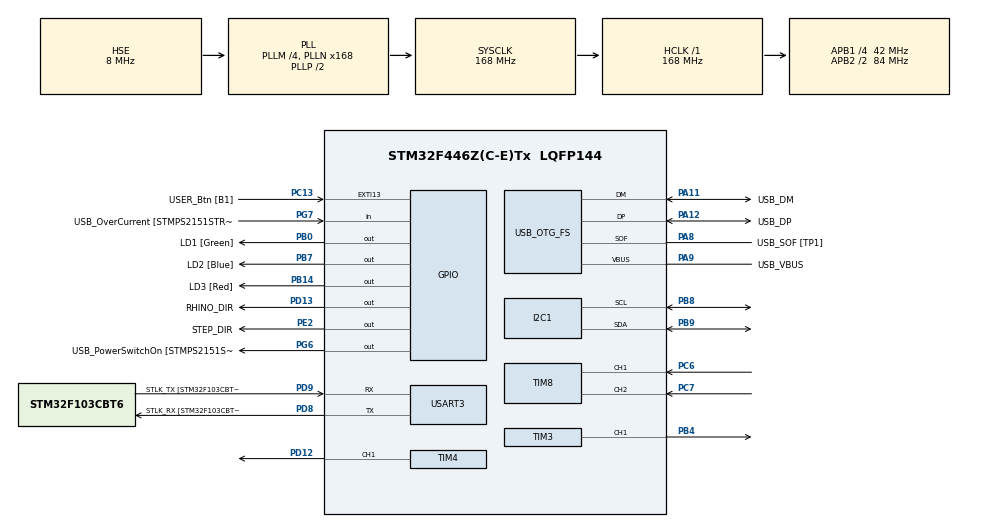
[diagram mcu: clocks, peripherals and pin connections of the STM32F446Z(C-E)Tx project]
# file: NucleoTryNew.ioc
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Mcu.Family=STM32F4
Mcu.Name=STM32F446Z(C-E)Tx
Mcu.Package=LQFP144
NVIC.PriorityGroup=NVIC_PRIORITYGROUP_4
NVIC.USART3_IRQn=true\:0\:0\:false\:false\:true\:true\:true\:true
PA10.GPIO_Label=USB_ID
PA10.Signal=USB_OTG_FS_ID
PA11.GPIO_Label=USB_DM
PA11.Mode=Device_Only
PA11.Signal=USB_OTG_FS_DM
PA12.GPIO_Label=USB_DP
PA12.Mode=Device_Only
PA12.Signal=USB_OTG_FS_DP
PA13.GPIO_Label=TMS
PA13.Mode=Serial_Wire
PA13.Signal=SYS_JTMS-SWDIO
PA14.GPIO_Label=TCK
PA14.Mode=Serial_Wire
PA14.Signal=SYS_JTCK-SWCLK
PA8.GPIO_Label=USB_SOF [TP1]
PA8.Mode=Activate_SOF_FS
PA8.Signal=USB_OTG_FS_SOF
PA9.GPIO_Label=USB_VBUS
PA9.Mode=Activate_VBUS
PA9.Signal=USB_OTG_FS_VBUS
PB0.GPIO_Label=LD1 [Green]
PB0.Signal=GPIO_Output
PB14.GPIO_Label=LD3 [Red]
PB14.Signal=GPIO_Output
PB4.Signal=S_TIM3_CH1
PB7.GPIO_Label=LD2 [Blue]
PB7.Signal=GPIO_Output
PB8.Mode=I2C
PB8.Signal=I2C1_SCL
PB9.Mode=I2C
PB9.Signal=I2C1_SDA
PC13.GPIO_Label=USER_Btn [B1]
PC13.Signal=GPXTI13
PC14-OSC32_IN.Mode=LSE-External-Oscillator
PC14-OSC32_IN.Signal=RCC_OSC32_IN
PC15-OSC32_OUT.Mode=LSE-External-Oscillator
PC15-OSC32_OUT.Signal=RCC_OSC32_OUT
PC6.GPIO_PuPd=GPIO_PULLUP
PC6.Signal=S_TIM8_CH1
PC7.GPIO_PuPd=GPIO_PULLUP
PC7.Signal=S_TIM8_CH2
PD12.Signal=S_TIM4_CH1
PD13.GPIO_Label=RHINO_DIR
PD13.Signal=GPIO_Output
PD8.GPIO_Label=STLK_RX [STM32F103CBT6_PA3]
PD8.Mode=Asynchronous
PD8.Signal=USART3_TX
PD9.GPIO_Label=STLK_TX [STM32F103CBT6_PA2]
PD9.Mode=Asynchronous
PD9.Signal=USART3_RX
PE2.GPIO_Label=STEP_DIR
PE2.Signal=GPIO_Output
PG6.GPIO_Label=USB_PowerSwitchOn [STMPS2151STR_EN]
PG6.Signal=GPIO_Output
PG7.GPIO_Label=USB_OverCurrent [STMPS2151STR_FAULT]
PG7.Signal=GPIO_Input
PH0-OSC_IN.GPIO_Label=MCO [STM32F103CBT6_PA8]
PH0-OSC_IN.Mode=HSE-External-Clock-Source
PH0-OSC_IN.Signal=RCC_OSC_IN
PH1-OSC_OUT.Mode=HSE-External-Clock-Source
PH1-OSC_OUT.Signal=RCC_OSC_OUT
ProjectManager.HeapSize=0x200
ProjectManager.StackSize=0x400
ProjectManager.TargetToolchain=STM32CubeIDE
RCC.48MHZClocksFreq_Value=24000000
RCC.AHBFreq_Value=168000000
RCC.APB1CLKDivider=RCC_HCLK_DIV4
RCC.APB1Freq_Value=42000000
RCC.APB1TimFreq_Value=84000000
RCC.APB2CLKDivider=RCC_HCLK_DIV2
RCC.APB2Freq_Value=84000000
RCC.APB2TimFreq_Value=168000000
RCC.CortexFreq_Value=168000000
RCC.HCLKFreq_Value=168000000
RCC.HSE_VALUE=8000000
RCC.HSI_VALUE=16000000
RCC.PLLM=4
RCC.PLLMUL=RCC_PLL_MUL9
RCC.PLLN=168
RCC.PLLQ=7
RCC.PRESCALERUSB=RCC_USBCLKSOURCE_PLL_DIV1_5
RCC.SYSCLKFreq_VALUE=168000000
RCC.SYSCLKSource=RCC_SYSCLKSOURCE_PLLCLK
RCC.SYSCLKSourceVirtual=RCC_SYSCLKSOURCE_PLLCLK
RCC.USBFreq_Value=48000000
RCC.VCOOutputFreq_Value=336000000
SH.S_TIM3_CH1.0=TIM3_CH1,PWM Generation1 CH1
SH.S_TIM4_CH1.0=TIM4_CH1,PWM Generation1 CH1
SH.S_TIM8_CH1.0=TIM8_CH1,Encoder_Interface
SH.S_TIM8_CH2.0=TIM8_CH2,Encoder_Interface
TIM3.Channel-PWM\ Generation1\ CH1=TIM_CHANNEL_1
TIM3.Period=999
TIM3.Prescaler=89
TIM3.Pulse-PWM\ Generation1\ CH1=500
TIM4.Channel-PWM\ Generation1\ CH1=TIM_CHANNEL_1
TIM8.EncoderMode=TIM_ENCODERMODE_TI12
USART3.VirtualMode=VM_ASYNC
USB_OTG_FS.VirtualMode=Device_Only
VP_TIM3_VS_ClockSourceINT.Mode=Internal
VP_TIM4_VS_ClockSourceINT.Mode=Internal
board=NUCLEO-F446ZE

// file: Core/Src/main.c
/* USER CODE BEGIN Header */
/**
  ******************************************************************************
  * @file           : main.c
  * @brief          : NEMA Position Control + Rhino Continuous Read
  * @board          : STM32F446ZE Nucleo
  ******************************************************************************
  */
/* USER CODE END Header */
#include "main.h"

/* USER CODE BEGIN Includes */
#include <stdio.h>
#include <stdlib.h>
#include <string.h>
#include <math.h>
/* USER CODE END Includes */

/* USER CODE BEGIN PTD */
// --- PID Settings Structure ---
typedef struct {
    float Kp, Ki, Kd;
    float prevError, integral;
    float outputLimit, minOutput;
} PID_Controller;
/* USER CODE END PTD */

/* USER CODE BEGIN PD */
// --- NEMA / AS5600 SETTINGS ---
#define AS5600_ADDR (0x36 << 1)
#define AS5600_RAW_ANGLE_REG 0x0C
#define GEAR_RATIO 10.56f
#define RX_BUFFER_SIZE 20

// --- RHINO SETTINGS ---
// Using your original constant.
// Note: Reference code used 93132. If your angle is wrong, try that number.
#define RHINO_COUNTS_PER_REV 552800.0f

// --- IMPORTANT: CHANGE THIS IF MOTOR RUNS AWAY ---
#define MOTOR_INVERT_DIR 0
/* USER CODE END PD */

I2C_HandleTypeDef hi2c1;

TIM_HandleTypeDef htim3;
TIM_HandleTypeDef htim4;
TIM_HandleTypeDef htim8;

UART_HandleTypeDef huart3;

PCD_HandleTypeDef hpcd_USB_OTG_FS;

/* USER CODE BEGIN PV */
// --- PID Instance ---
PID_Controller pid = {
    .Kp = 70.0f,
    .Ki = 10.00f,
    .Kd = 0.00f,
    .outputLimit = 4000.0f,
    .minOutput = 100.0f
};

// --- Global Variables (NEMA) ---
volatile float target_angle = 0.0f;
volatile uint8_t new_command_received = 0;
float current_output_angle = 0.0f;
long global_revolutions = 0;
uint16_t prev_raw_angle = 0;
int first_reading = 1;

// --- Global Variables (RHINO) ---
// We use 64-bit int to track total ticks forever without overflow issues
volatile int64_t rhino_total_ticks = 0;
volatile int16_t rhino_prev_count = 0;

// UART Variables
uint8_t rx_byte;
char rx_buffer[RX_BUFFER_SIZE];
uint8_t rx_index = 0;
/* USER CODE END PV */

void SystemClock_Config(void);
static void MX_GPIO_Init(void);
static void MX_USART3_UART_Init(void);
static void MX_USB_OTG_FS_PCD_Init(void);
static void MX_I2C1_Init(void);
static void MX_TIM3_Init(void);
static void MX_TIM4_Init(void);
static void MX_TIM8_Init(void);
/* USER CODE BEGIN PFP */
uint16_t AS5600_ReadAngle(void);
float PID_Compute(float setpoint, float measured);
int _write(int file, char *ptr, int len);
void Rhino_Update_Angle(void);
/* USER CODE END PFP */

/* USER CODE BEGIN 0 */

// --- 1. UART INTERRUPT ---
void HAL_UART_RxCpltCallback(UART_HandleTypeDef *huart)
{
    if (huart->Instance == USART3) {
        if (rx_byte == '\n' || rx_byte == '\r') {
            rx_buffer[rx_index] = '\0';
            if (rx_index > 0) {
                target_angle = atof(rx_buffer);
                pid.prevError = 0;
                pid.integral = 0;
                new_command_received = 1;
            }
            rx_index = 0;
        } else {
            if (rx_index < RX_BUFFER_SIZE - 1) rx_buffer[rx_index++] = rx_byte;
        }
        HAL_UART_Receive_IT(&huart3, &rx_byte, 1);
    }
}

// --- 2. SAFE PRINTF ---
int _write(int file, char *ptr, int len) {
    HAL_UART_Transmit(&huart3, (uint8_t *)ptr, len, 10);
    return len;
}

// --- 3. AS5600 Read ---
uint16_t AS5600_ReadAngle(void) {
    uint8_t rawData[2];
    if(HAL_I2C_Master_Transmit(&hi2c1, AS5600_ADDR, (uint8_t[]){AS5600_RAW_ANGLE_REG}, 1, 10) != HAL_OK) return 9999;
    if (HAL_I2C_Master_Receive(&hi2c1, AS5600_ADDR, rawData, 2, 10) == HAL_OK) {
        return ((uint16_t)rawData[0] << 8) | rawData[1];
    }
    return 9999;
}

// --- 4. PID Compute ---
float PID_Compute(float setpoint, float measured) {
    float error = setpoint - measured;
    float P = pid.Kp * error;
    pid.integral += error;
    if (pid.integral > 500) pid.integral = 500;
    if (pid.integral < -500) pid.integral = -500;
    float I = pid.Ki * pid.integral;
    float D = pid.Kd * (error - pid.prevError);
    pid.prevError = error;
    return P + I + D;
}

// --- 5. RHINO UPDATE (From Reference Code Logic) ---
void Rhino_Update_Angle(void) {
    // CRITICAL: We use int16_t because TIM8 is a 16-bit timer on this board.
    // Reading it as 16-bit allows the math (curr - prev) to handle overflow automatically.
    int16_t curr_count = (int16_t)__HAL_TIM_GET_COUNTER(&htim8);

    // Calculate difference (this handles the 65535 -> 0 wrap automatically)
    int16_t diff = curr_count - rhino_prev_count;

    // Add to total
    rhino_total_ticks += diff;

    // Update previous
    rhino_prev_count = curr_count;
}

/* USER CODE END 0 */

int main(void)
{

  /* MCU Configuration--------------------------------------------------------*/

  /* Reset of all peripherals, Initializes the Flash interface and the Systick. */
  HAL_Init();

  /* Configure the system clock */
  SystemClock_Config();

  /* Initialize all configured peripherals */
  MX_GPIO_Init();
  MX_USART3_UART_Init();
  MX_USB_OTG_FS_PCD_Init();
  MX_I2C1_Init();
  MX_TIM3_Init();
  MX_TIM4_Init();
  MX_TIM8_Init();
  /* USER CODE BEGIN 2 */
  // --- A. START PERIPHERALS ---
  HAL_UART_Receive_IT(&huart3, &rx_byte, 1);

  // NEMA Motor PWM
  HAL_TIM_PWM_Start(&htim3, TIM_CHANNEL_1);

  // --- B. START RHINO MOTOR (Continuous Rotation) ---
  HAL_TIM_PWM_Start(&htim4, TIM_CHANNEL_1);
  __HAL_TIM_SET_AUTORELOAD(&htim4, 4199); // 20kHz
  HAL_GPIO_WritePin(RHINO_DIR_GPIO_Port, RHINO_DIR_Pin, GPIO_PIN_SET);
  __HAL_TIM_SET_COMPARE(&htim4, TIM_CHANNEL_1, 2100); // 50% Speed

  // --- C. START RHINO ENCODER (TIM8) ---
  // Using TIM8 as per your reference code
  HAL_TIM_Encoder_Start(&htim8, TIM_CHANNEL_ALL);

  // Initialize Rhino Prev Count to avoid a jump at start
  rhino_prev_count = (int16_t)__HAL_TIM_GET_COUNTER(&htim8);

  printf("\r\n--- SYSTEM READY ---\r\n");
  /* USER CODE END 2 */

  /* Infinite loop */
  /* USER CODE BEGIN WHILE */
  while (1)
  {
    // 1. Update Rhino Angle immediately
    Rhino_Update_Angle();

    // 2. NEMA Logic
    if (new_command_received) {
        printf("\r\n>>> New Target: %.2f <<<\r\n", target_angle);
        new_command_received = 0;
    }

    uint16_t curr_raw = AS5600_ReadAngle();

    if (curr_raw != 9999) {
        // NEMA Multi-Turn Logic
        if (first_reading) { prev_raw_angle = curr_raw; first_reading = 0; }
        int delta = (int)curr_raw - (int)prev_raw_angle;
        if (delta < -2048) global_revolutions++;
        else if (delta > 2048) global_revolutions--;
        prev_raw_angle = curr_raw;

        float total_motor_deg = (global_revolutions * 360.0f) + ((curr_raw * 360.0f) / 4096.0f);
        current_output_angle = total_motor_deg / GEAR_RATIO;

        // NEMA PID
        float pid_output = PID_Compute(target_angle, current_output_angle);

        // NEMA Motor Drive
        if (fabs(target_angle - current_output_angle) < 0.5f) {
            __HAL_TIM_SET_COMPARE(&htim3, TIM_CHANNEL_1, 0);
            pid.integral = 0;
        }
        else {
            GPIO_PinState dir_state;
            if (pid_output > 0) dir_state = (MOTOR_INVERT_DIR) ? GPIO_PIN_RESET : GPIO_PIN_SET;
            else dir_state = (MOTOR_INVERT_DIR) ? GPIO_PIN_SET : GPIO_PIN_RESET;

            HAL_GPIO_WritePin(STEP_DIR_GPIO_Port, STEP_DIR_Pin, dir_state);

            float freq = fabs(pid_output);
            if (freq > pid.outputLimit) freq = pid.outputLimit;
            if (freq < pid.minOutput) freq = pid.minOutput;

            uint32_t arr_val = (1000000 / (uint32_t)freq) - 1;
            __HAL_TIM_SET_AUTORELOAD(&htim3, arr_val);
            __HAL_TIM_SET_COMPARE(&htim3, TIM_CHANNEL_1, arr_val / 2);
        }

        // 3. LOGGING (Every 200ms)
                static uint32_t last_print = 0;
                if (HAL_GetTick() - last_print > 200) {

                    // 1. Debug: Read the raw timer directly to see if hardware is alive
                    // We cast to long (int32_t) which printf handles easily with %ld
                    int32_t raw_timer = (int32_t)__HAL_TIM_GET_COUNTER(&htim8);

                    // 2. Calculate Angle (Cast to int32_t to fix "ld" print error)
                    // limiting to 32-bit is fine for display
                    int32_t total_ticks_32 = (int32_t)rhino_total_ticks;

                    // Calculate degrees
                    float rhino_deg_f = (total_ticks_32 / RHINO_COUNTS_PER_REV) * 360.0f;
                    int32_t rhino_deg_int = (int32_t)rhino_deg_f;

                    int32_t nema_ang = (int32_t)current_output_angle;

                    // FIXED PRINTF: Using %ld (Long Int) instead of %lld
                    printf("NEMA:%ld | RAW_TIM8:%ld | TICKS:%ld | RHINO_ANG:%ld\r\n",
                           nema_ang, raw_timer, total_ticks_32, rhino_deg_int);

                    last_print = HAL_GetTick();
                }
    }
    HAL_Delay(10); // Small delay to prevent CPU hogging
    /* USER CODE END WHILE */

  }
}

void SystemClock_Config(void)
{
  RCC_OscInitTypeDef RCC_OscInitStruct = {0};
  RCC_ClkInitTypeDef RCC_ClkInitStruct = {0};

  /** Configure the main internal regulator output voltage
  */
  __HAL_RCC_PWR_CLK_ENABLE();
  __HAL_PWR_VOLTAGESCALING_CONFIG(PWR_REGULATOR_VOLTAGE_SCALE1);

  /** Initializes the RCC Oscillators according to the specified parameters
  * in the RCC_OscInitTypeDef structure.
  */
  RCC_OscInitStruct.OscillatorType = RCC_OSCILLATORTYPE_HSE;
  RCC_OscInitStruct.HSEState = RCC_HSE_BYPASS;
  RCC_OscInitStruct.PLL.PLLState = RCC_PLL_ON;
  RCC_OscInitStruct.PLL.PLLSource = RCC_PLLSOURCE_HSE;
  RCC_OscInitStruct.PLL.PLLM = 4;
  RCC_OscInitStruct.PLL.PLLN = 168;
  RCC_OscInitStruct.PLL.PLLP = RCC_PLLP_DIV2;
  RCC_OscInitStruct.PLL.PLLQ = 7;
  RCC_OscInitStruct.PLL.PLLR = 2;
  if (HAL_RCC_OscConfig(&RCC_OscInitStruct) != HAL_OK)
  {
    Error_Handler();
  }

  /** Initializes the CPU, AHB and APB buses clocks
  */
  RCC_ClkInitStruct.ClockType = RCC_CLOCKTYPE_HCLK|RCC_CLOCKTYPE_SYSCLK
                              |RCC_CLOCKTYPE_PCLK1|RCC_CLOCKTYPE_PCLK2;
  RCC_ClkInitStruct.SYSCLKSource = RCC_SYSCLKSOURCE_PLLCLK;
  RCC_ClkInitStruct.AHBCLKDivider = RCC_SYSCLK_DIV1;
  RCC_ClkInitStruct.APB1CLKDivider = RCC_HCLK_DIV4;
  RCC_ClkInitStruct.APB2CLKDivider = RCC_HCLK_DIV2;

  if (HAL_RCC_ClockConfig(&RCC_ClkInitStruct, FLASH_LATENCY_5) != HAL_OK)
  {
    Error_Handler();
  }
}

static void MX_I2C1_Init(void)
{

  hi2c1.Instance = I2C1;
  hi2c1.Init.ClockSpeed = 100000;
  hi2c1.Init.DutyCycle = I2C_DUTYCYCLE_2;
  hi2c1.Init.OwnAddress1 = 0;
  hi2c1.Init.AddressingMode = I2C_ADDRESSINGMODE_7BIT;
  hi2c1.Init.DualAddressMode = I2C_DUALADDRESS_DISABLE;
  hi2c1.Init.OwnAddress2 = 0;
  hi2c1.Init.GeneralCallMode = I2C_GENERALCALL_DISABLE;
  hi2c1.Init.NoStretchMode = I2C_NOSTRETCH_DISABLE;
  if (HAL_I2C_Init(&hi2c1) != HAL_OK)
  {
    Error_Handler();
  }

}

static void MX_TIM3_Init(void)
{

  TIM_ClockConfigTypeDef sClockSourceConfig = {0};
  TIM_MasterConfigTypeDef sMasterConfig = {0};
  TIM_OC_InitTypeDef sConfigOC = {0};

  htim3.Instance = TIM3;
  htim3.Init.Prescaler = 89;
  htim3.Init.CounterMode = TIM_COUNTERMODE_UP;
  htim3.Init.Period = 999;
  htim3.Init.ClockDivision = TIM_CLOCKDIVISION_DIV1;
  htim3.Init.AutoReloadPreload = TIM_AUTORELOAD_PRELOAD_DISABLE;
  if (HAL_TIM_Base_Init(&htim3) != HAL_OK)
  {
    Error_Handler();
  }
  sClockSourceConfig.ClockSource = TIM_CLOCKSOURCE_INTERNAL;
  if (HAL_TIM_ConfigClockSource(&htim3, &sClockSourceConfig) != HAL_OK)
  {
    Error_Handler();
  }
  if (HAL_TIM_PWM_Init(&htim3) != HAL_OK)
  {
    Error_Handler();
  }
  sMasterConfig.MasterOutputTrigger = TIM_TRGO_RESET;
  sMasterConfig.MasterSlaveMode = TIM_MASTERSLAVEMODE_DISABLE;
  if (HAL_TIMEx_MasterConfigSynchronization(&htim3, &sMasterConfig) != HAL_OK)
  {
    Error_Handler();
  }
  sConfigOC.OCMode = TIM_OCMODE_PWM1;
  sConfigOC.Pulse = 500;
  sConfigOC.OCPolarity = TIM_OCPOLARITY_HIGH;
  sConfigOC.OCFastMode = TIM_OCFAST_DISABLE;
  if (HAL_TIM_PWM_ConfigChannel(&htim3, &sConfigOC, TIM_CHANNEL_1) != HAL_OK)
  {
    Error_Handler();
  }
  HAL_TIM_MspPostInit(&htim3);

}

static void MX_TIM4_Init(void)
{

  TIM_ClockConfigTypeDef sClockSourceConfig = {0};
  TIM_MasterConfigTypeDef sMasterConfig = {0};
  TIM_OC_InitTypeDef sConfigOC = {0};

  htim4.Instance = TIM4;
  htim4.Init.Prescaler = 0;
  htim4.Init.CounterMode = TIM_COUNTERMODE_UP;
  htim4.Init.Period = 65535;
  htim4.Init.ClockDivision = TIM_CLOCKDIVISION_DIV1;
  htim4.Init.AutoReloadPreload = TIM_AUTORELOAD_PRELOAD_DISABLE;
  if (HAL_TIM_Base_Init(&htim4) != HAL_OK)
  {
    Error_Handler();
  }
  sClockSourceConfig.ClockSource = TIM_CLOCKSOURCE_INTERNAL;
  if (HAL_TIM_ConfigClockSource(&htim4, &sClockSourceConfig) != HAL_OK)
  {
    Error_Handler();
  }
  if (HAL_TIM_PWM_Init(&htim4) != HAL_OK)
  {
    Error_Handler();
  }
  sMasterConfig.MasterOutputTrigger = TIM_TRGO_RESET;
  sMasterConfig.MasterSlaveMode = TIM_MASTERSLAVEMODE_DISABLE;
  if (HAL_TIMEx_MasterConfigSynchronization(&htim4, &sMasterConfig) != HAL_OK)
  {
    Error_Handler();
  }
  sConfigOC.OCMode = TIM_OCMODE_PWM1;
  sConfigOC.Pulse = 0;
  sConfigOC.OCPolarity = TIM_OCPOLARITY_HIGH;
  sConfigOC.OCFastMode = TIM_OCFAST_DISABLE;
  if (HAL_TIM_PWM_ConfigChannel(&htim4, &sConfigOC, TIM_CHANNEL_1) != HAL_OK)
  {
    Error_Handler();
  }
  HAL_TIM_MspPostInit(&htim4);

}

static void MX_TIM8_Init(void)
{

  TIM_Encoder_InitTypeDef sConfig = {0};
  TIM_MasterConfigTypeDef sMasterConfig = {0};

  htim8.Instance = TIM8;
  htim8.Init.Prescaler = 0;
  htim8.Init.CounterMode = TIM_COUNTERMODE_UP;
  htim8.Init.Period = 65535;
  htim8.Init.ClockDivision = TIM_CLOCKDIVISION_DIV1;
  htim8.Init.RepetitionCounter = 0;
  htim8.Init.AutoReloadPreload = TIM_AUTORELOAD_PRELOAD_DISABLE;
  sConfig.EncoderMode = TIM_ENCODERMODE_TI12;
  sConfig.IC1Polarity = TIM_ICPOLARITY_RISING;
  sConfig.IC1Selection = TIM_ICSELECTION_DIRECTTI;
  sConfig.IC1Prescaler = TIM_ICPSC_DIV1;
  sConfig.IC1Filter = 0;
  sConfig.IC2Polarity = TIM_ICPOLARITY_RISING;
  sConfig.IC2Selection = TIM_ICSELECTION_DIRECTTI;
  sConfig.IC2Prescaler = TIM_ICPSC_DIV1;
  sConfig.IC2Filter = 0;
  if (HAL_TIM_Encoder_Init(&htim8, &sConfig) != HAL_OK)
  {
    Error_Handler();
  }
  sMasterConfig.MasterOutputTrigger = TIM_TRGO_RESET;
  sMasterConfig.MasterSlaveMode = TIM_MASTERSLAVEMODE_DISABLE;
  if (HAL_TIMEx_MasterConfigSynchronization(&htim8, &sMasterConfig) != HAL_OK)
  {
    Error_Handler();
  }

}

static void MX_USART3_UART_Init(void)
{

  huart3.Instance = USART3;
  huart3.Init.BaudRate = 115200;
  huart3.Init.WordLength = UART_WORDLENGTH_8B;
  huart3.Init.StopBits = UART_STOPBITS_1;
  huart3.Init.Parity = UART_PARITY_NONE;
  huart3.Init.Mode = UART_MODE_TX_RX;
  huart3.Init.HwFlowCtl = UART_HWCONTROL_NONE;
  huart3.Init.OverSampling = UART_OVERSAMPLING_16;
  if (HAL_UART_Init(&huart3) != HAL_OK)
  {
    Error_Handler();
  }

}

static void MX_USB_OTG_FS_PCD_Init(void)
{

  hpcd_USB_OTG_FS.Instance = USB_OTG_FS;
  hpcd_USB_OTG_FS.Init.dev_endpoints = 6;
  hpcd_USB_OTG_FS.Init.speed = PCD_SPEED_FULL;
  hpcd_USB_OTG_FS.Init.dma_enable = DISABLE;
  hpcd_USB_OTG_FS.Init.phy_itface = PCD_PHY_EMBEDDED;
  hpcd_USB_OTG_FS.Init.Sof_enable = ENABLE;
  hpcd_USB_OTG_FS.Init.low_power_enable = DISABLE;
  hpcd_USB_OTG_FS.Init.lpm_enable = DISABLE;
  hpcd_USB_OTG_FS.Init.vbus_sensing_enable = ENABLE;
  hpcd_USB_OTG_FS.Init.use_dedicated_ep1 = DISABLE;
  if (HAL_PCD_Init(&hpcd_USB_OTG_FS) != HAL_OK)
  {
    Error_Handler();
  }

}

static void MX_GPIO_Init(void)
{
  GPIO_InitTypeDef GPIO_InitStruct = {0};

  /* GPIO Ports Clock Enable */
  __HAL_RCC_GPIOE_CLK_ENABLE();
  __HAL_RCC_GPIOC_CLK_ENABLE();
  __HAL_RCC_GPIOH_CLK_ENABLE();
  __HAL_RCC_GPIOB_CLK_ENABLE();
  __HAL_RCC_GPIOD_CLK_ENABLE();
  __HAL_RCC_GPIOG_CLK_ENABLE();
  __HAL_RCC_GPIOA_CLK_ENABLE();

  /*Configure GPIO pin Output Level */
  HAL_GPIO_WritePin(STEP_DIR_GPIO_Port, STEP_DIR_Pin, GPIO_PIN_RESET);

  /*Configure GPIO pin Output Level */
  HAL_GPIO_WritePin(GPIOB, LD1_Pin|LD3_Pin|LD2_Pin, GPIO_PIN_RESET);

  /*Configure GPIO pin Output Level */
  HAL_GPIO_WritePin(RHINO_DIR_GPIO_Port, RHINO_DIR_Pin, GPIO_PIN_RESET);

  /*Configure GPIO pin Output Level */
  HAL_GPIO_WritePin(USB_PowerSwitchOn_GPIO_Port, USB_PowerSwitchOn_Pin, GPIO_PIN_RESET);

  /*Configure GPIO pin : STEP_DIR_Pin */
  GPIO_InitStruct.Pin = STEP_DIR_Pin;
  GPIO_InitStruct.Mode = GPIO_MODE_OUTPUT_PP;
  GPIO_InitStruct.Pull = GPIO_NOPULL;
  GPIO_InitStruct.Speed = GPIO_SPEED_FREQ_LOW;
  HAL_GPIO_Init(STEP_DIR_GPIO_Port, &GPIO_InitStruct);

  /*Configure GPIO pin : USER_Btn_Pin */
  GPIO_InitStruct.Pin = USER_Btn_Pin;
  GPIO_InitStruct.Mode = GPIO_MODE_IT_RISING;
  GPIO_InitStruct.Pull = GPIO_NOPULL;
  HAL_GPIO_Init(USER_Btn_GPIO_Port, &GPIO_InitStruct);

  /*Configure GPIO pins : LD1_Pin LD3_Pin LD2_Pin */
  GPIO_InitStruct.Pin = LD1_Pin|LD3_Pin|LD2_Pin;
  GPIO_InitStruct.Mode = GPIO_MODE_OUTPUT_PP;
  GPIO_InitStruct.Pull = GPIO_NOPULL;
  GPIO_InitStruct.Speed = GPIO_SPEED_FREQ_LOW;
  HAL_GPIO_Init(GPIOB, &GPIO_InitStruct);

  /*Configure GPIO pin : RHINO_DIR_Pin */
  GPIO_InitStruct.Pin = RHINO_DIR_Pin;
  GPIO_InitStruct.Mode = GPIO_MODE_OUTPUT_PP;
  GPIO_InitStruct.Pull = GPIO_NOPULL;
  GPIO_InitStruct.Speed = GPIO_SPEED_FREQ_LOW;
  HAL_GPIO_Init(RHINO_DIR_GPIO_Port, &GPIO_InitStruct);

  /*Configure GPIO pin : USB_PowerSwitchOn_Pin */
  GPIO_InitStruct.Pin = USB_PowerSwitchOn_Pin;
  GPIO_InitStruct.Mode = GPIO_MODE_OUTPUT_PP;
  GPIO_InitStruct.Pull = GPIO_NOPULL;
  GPIO_InitStruct.Speed = GPIO_SPEED_FREQ_LOW;
  HAL_GPIO_Init(USB_PowerSwitchOn_GPIO_Port, &GPIO_InitStruct);

  /*Configure GPIO pin : USB_OverCurrent_Pin */
  GPIO_InitStruct.Pin = USB_OverCurrent_Pin;
  GPIO_InitStruct.Mode = GPIO_MODE_INPUT;
  GPIO_InitStruct.Pull = GPIO_NOPULL;
  HAL_GPIO_Init(USB_OverCurrent_GPIO_Port, &GPIO_InitStruct);

}

/* USER CODE BEGIN 4 */
// No extra code here
/* USER CODE END 4 */

void Error_Handler(void)
{
  __disable_irq();
  while (1)
  {
  }
}
